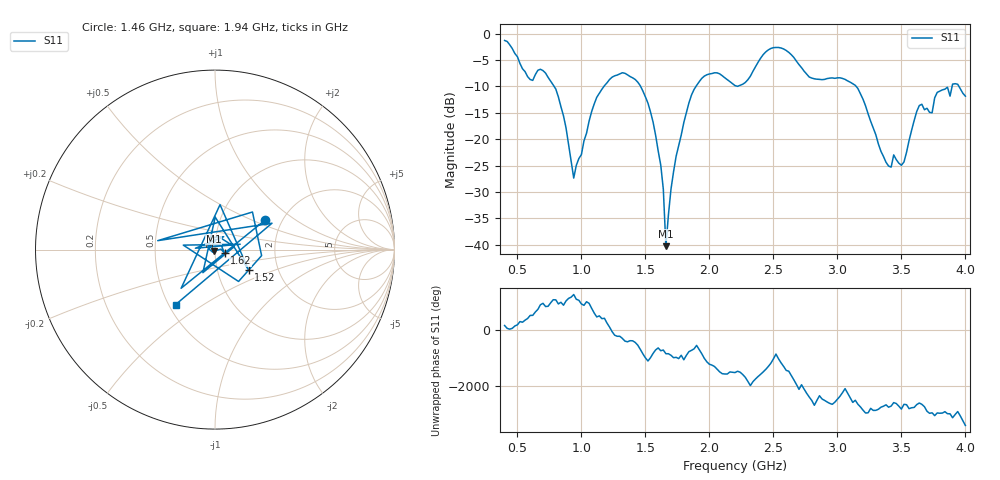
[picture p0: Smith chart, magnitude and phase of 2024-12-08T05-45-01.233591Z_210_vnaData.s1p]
!Created with skrf (http://scikit-rf.org).
# Hz S RI R 50.0
!freq ReS11 ImS11
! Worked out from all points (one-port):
!   181 points, 400 MHz to 4 GHz, reference 50 ohm
!   lowest |S11| = -40.3 dB at 1.66 GHz (marker M1), VSWR 1.02, Z = 49.4 - j0.749 ohm
!   |S11| at or under -10 dB: 786.9 MHz to 1.176 GHz (389 MHz wide, 39.6 % of centre); 1.463 GHz to 1.895 GHz (432.5 MHz wide, 25.8 % of centre); 3.147 GHz to 3.896 GHz (749.2 MHz wide, 21.3 % of centre) (the widest 3 of 4)
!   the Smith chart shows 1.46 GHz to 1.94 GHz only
!   S11 on the Smith chart (normalised r, x): 1.46 GHz: 1.63, +0.59; 1.52 GHz: 1.41, -0.34; 1.62 GHz: 1.11, -0.05; 1.94 GHz: 0.54, -0.39
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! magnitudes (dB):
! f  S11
! 400 MHz  -1.3
! 600 MHz  -8.7
! 720 MHz  -7.5
! 860 MHz  -15.6
! 940 MHz  -27.4
! 1.12 GHz  -12.1
! 1.3 GHz  -7.6
! 1.46 GHz  -9.9
! 1.52 GHz  -13.2
! 1.62 GHz  -24.9
! 1.64 GHz  -29.5
! 1.66 GHz  -40.3
! 1.7 GHz  -29.5
! 1.76 GHz  -21.3
! 1.86 GHz  -11.6
! 1.94 GHz  -8.5
! 2.2 GHz  -9.8
! 2.48 GHz  -2.8
! 2.66 GHz  -4.5
! 3.1 GHz  -9.2
! 3.4 GHz  -25.1
! 3.5 GHz  -24.9
! 3.56 GHz  -20.2
! 3.64 GHz  -13.6
! 3.74 GHz  -15.0
! 3.78 GHz  -11.1
! 3.9 GHz  -9.6
! 4 GHz  -11.9
